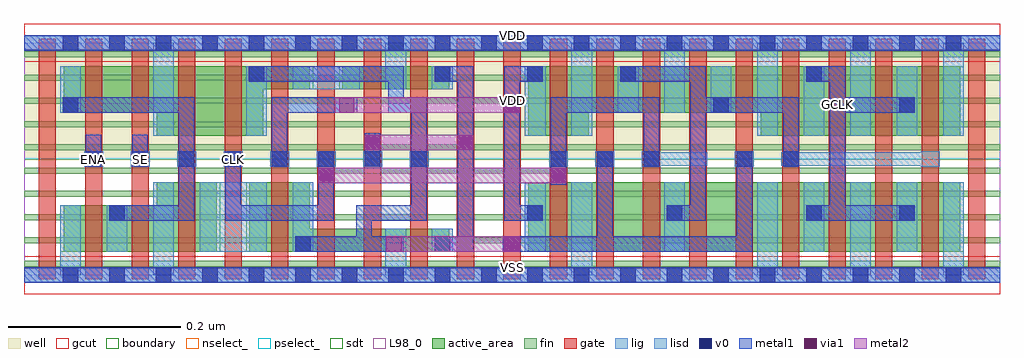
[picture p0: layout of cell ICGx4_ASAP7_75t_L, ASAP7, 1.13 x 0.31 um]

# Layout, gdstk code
import gdstk
lib = gdstk.Library(unit=1e-6, precision=2.5e-10)
def R(c, l, rs):  # rectangles x0, y0, x1, y1
    for r in rs: c.add(gdstk.rectangle(r[:2], r[2:], *l))
def A(c, l, x, y, w, h, nx, ny, dx, dy):  # array of equal rectangles
    R(c, l, [(x+i*dx, y+j*dy, x+i*dx+w, y+j*dy+h) for i in range(nx) for j in range(ny)])
def P(c, l, *ps):  # polygons
    for p in ps: c.add(gdstk.Polygon(p, *l))
well = (1, 0)
fin = (2, 0)
gate = (7, 0)
gcut = (10, 0)
active_area = (11, 0)
nselect_ = (12, 0)
pselect_ = (13, 0)
lig = (16, 0)
lisd = (17, 0)
v0 = (18, 0)
metal1 = (19, 0)
metal2 = (20, 0)
via1 = (21, 0)
sdt = (88, 0)
L98_0 = (98, 0)
boundary = (100, 0)

icgx4_asap7_75t_l = lib.new_cell('ICGx4_ASAP7_75t_L')
R(icgx4_asap7_75t_l, well, [(0,0.135,1.134,0.27)])
A(icgx4_asap7_75t_l, fin, 0, 0.01, 1.134, 0.007, 1, 10, 0, 0.027)
A(icgx4_asap7_75t_l, gate, 0.017, -0.005, 0.02, 0.28, 21, 1, 0.054, 0)
R(icgx4_asap7_75t_l, gcut, [(0,-0.022,1.134,0.022), (0,0.248,1.134,0.292)])
R(icgx4_asap7_75t_l, active_area, [(0.586,0.027,1.088,0.108), (0.37,0.216,0.494,0.243)])
P(icgx4_asap7_75t_l, active_area, [(0.046,0.027),(0.046,0.081),(0.154,0.081),(0.154,0.108),(0.224,0.108),(0.224,0.027)],
  [(0.262,0.027),(0.262,0.108),(0.332,0.108),(0.332,0.054),(0.494,0.054),(0.494,0.027)],
  [(0.154,0.162),(0.154,0.189),(0.046,0.189),(0.046,0.243),(0.332,0.243),(0.332,0.216),(0.278,0.216),(0.278,0.162)],
  [(0.586,0.162),(0.586,0.243),(1.088,0.243),(1.088,0.162),(0.856,0.162),(0.856,0.189),(0.656,0.189),(0.656,0.162)])
R(icgx4_asap7_75t_l, nselect_, [(0,0,1.134,0.135)])
R(icgx4_asap7_75t_l, pselect_, [(0,0.135,1.134,0.27)])
A(icgx4_asap7_75t_l, lig, 0.07, 0.126, 0.022, 0.018, 8, 1, 0.054, 0)
A(icgx4_asap7_75t_l, lig, 0.61, 0.126, 0.022, 0.018, 3, 1, 0.054, 0)
R(icgx4_asap7_75t_l, lig, [(0,-0.008,1.134,0.008), (0.826,0.126,0.848,0.144), (1.042,0.126,1.064,0.144), (0.718,0.127,0.794,0.143), (0.88,0.127,1.064,0.143), (0,0.262,1.134,0.278)])
A(icgx4_asap7_75t_l, lisd, 0.582, 0.027, 0.024, 0.081, 3, 1, 0.162, 0)
A(icgx4_asap7_75t_l, lisd, 0.258, 0.162, 0.024, 0.081, 3, 1, 0.324, 0)
R(icgx4_asap7_75t_l, lisd, [(0.042,0,0.066,0.081), (0.042,0,0.066,0.081), (0.15,0,0.174,0.108), (0.15,0,0.174,0.108), (0.42,0,0.444,0.054), (0.636,0,0.66,0.108), (0.636,0,0.66,0.108), (0.852,0,0.876,0.108), (0.852,0,0.876,0.108), (0.96,0,0.984,0.108), (0.96,0,0.984,0.108), (1.068,0,1.092,0.108), (1.068,0,1.092,0.108), (0.096,0.027,0.12,0.081), (0.204,0.027,0.282,0.108), (0.312,0.027,0.336,0.108), (0.474,0.027,0.498,0.054), (1.014,0.027,1.038,0.108), (0.15,0.162,0.174,0.27), (0.15,0.162,0.174,0.27), (0.636,0.162,0.66,0.27), (0.636,0.162,0.66,0.27), (0.852,0.162,0.876,0.27), (0.852,0.162,0.876,0.27), (0.96,0.162,0.984,0.27), (0.96,0.162,0.984,0.27), (1.014,0.162,1.038,0.243), (1.068,0.162,1.092,0.27), (1.068,0.162,1.092,0.27), (0.042,0.189,0.066,0.243), (0.69,0.189,0.714,0.243), (0.744,0.189,0.768,0.27), (0.744,0.189,0.768,0.27), (0.798,0.189,0.822,0.243), (0.312,0.216,0.39,0.243), (0.42,0.216,0.444,0.27), (0.474,0.216,0.498,0.243)])
A(icgx4_asap7_75t_l, v0, 0.045, -0.009, 0.018, 0.018, 20, 2, 0.054, 0.27)
A(icgx4_asap7_75t_l, v0, 0.585, 0.063, 0.018, 0.018, 3, 1, 0.162, 0)
A(icgx4_asap7_75t_l, v0, 0.072, 0.126, 0.018, 0.018, 8, 1, 0.054, 0)
A(icgx4_asap7_75t_l, v0, 0.612, 0.126, 0.018, 0.018, 3, 1, 0.054, 0)
A(icgx4_asap7_75t_l, v0, 0.477, 0.225, 0.018, 0.018, 3, 1, 0.108, 0)
R(icgx4_asap7_75t_l, v0, [(0.315,0.027,0.333,0.045), (0.477,0.027,0.495,0.045), (0.099,0.063,0.117,0.081), (1.017,0.063,1.035,0.081), (0.828,0.126,0.846,0.144), (0.882,0.126,0.9,0.144), (0.045,0.189,0.063,0.207), (0.801,0.189,0.819,0.207), (1.017,0.189,1.035,0.207), (0.261,0.225,0.279,0.243), (0.909,0.225,0.927,0.243)])
A(icgx4_asap7_75t_l, metal1, 0.585, 0.063, 0.018, 0.018, 3, 1, 0.162, 0)
A(icgx4_asap7_75t_l, metal1, 0.072, 0.126, 0.018, 0.018, 8, 1, 0.054, 0)
A(icgx4_asap7_75t_l, metal1, 0.612, 0.126, 0.018, 0.018, 3, 1, 0.054, 0)
A(icgx4_asap7_75t_l, metal1, 0.477, 0.225, 0.018, 0.018, 3, 1, 0.108, 0)
R(icgx4_asap7_75t_l, metal1, [(0,-0.009,1.134,0.009), (0.315,0.027,0.333,0.045), (0.423,0.027,0.441,0.045), (0.477,0.027,0.495,0.045), (0.556,0.027,0.578,0.045), (0.099,0.063,0.117,0.081), (1.017,0.063,1.035,0.081), (0.612,0.105,0.63,0.125), (0.342,0.107,0.36,0.125), (0.072,0.126,0.09,0.163), (0.126,0.126,0.144,0.163), (0.396,0.126,0.414,0.163), (0.828,0.126,0.846,0.144), (0.882,0.126,0.9,0.144), (0.396,0.145,0.414,0.165), (0.504,0.145,0.522,0.163), (0.045,0.189,0.063,0.207), (0.369,0.189,0.387,0.207), (0.558,0.189,0.576,0.207), (0.801,0.189,0.819,0.207), (1.017,0.189,1.035,0.207), (0.261,0.225,0.279,0.243), (0.909,0.225,0.927,0.243), (0,0.261,1.134,0.279)])
P(icgx4_asap7_75t_l, metal1, [(0.315,0.027),(0.315,0.045),(0.386,0.045),(0.386,0.081),(0.45,0.081),(0.45,0.189),(0.423,0.189),(0.423,0.225),(0.261,0.225),(0.261,0.243),(0.441,0.243),(0.441,0.207),(0.468,0.207),(0.468,0.063),(0.404,0.063),(0.404,0.045),(0.441,0.045),(0.441,0.027)],
  [(0.099,0.063),(0.099,0.081),(0.18,0.081),(0.18,0.189),(0.045,0.189),(0.045,0.207),(0.198,0.207),(0.198,0.063)],
  [(0.612,0.107),(0.612,0.207),(0.738,0.207),(0.738,0.126),(0.72,0.126),(0.72,0.189),(0.63,0.189),(0.63,0.107)],
  [(0.234,0.063),(0.234,0.144),(0.252,0.144),(0.252,0.081),(0.342,0.081),(0.342,0.144),(0.36,0.144),(0.36,0.063)],
  [(0.558,0.027),(0.558,0.045),(0.666,0.045),(0.666,0.144),(0.684,0.144),(0.684,0.045),(0.828,0.045),(0.828,0.144),(0.846,0.144),(0.846,0.027)],
  [(0.558,0.063),(0.558,0.243),(0.603,0.243),(0.603,0.225),(0.576,0.225),(0.576,0.081),(0.603,0.081),(0.603,0.063)],
  [(0.288,0.126),(0.288,0.207),(0.387,0.207),(0.387,0.189),(0.306,0.189),(0.306,0.126)],
  [(0.477,0.027),(0.477,0.045),(0.504,0.045),(0.504,0.225),(0.477,0.225),(0.477,0.243),(0.522,0.243),(0.522,0.027)],
  [(0.747,0.063),(0.747,0.081),(0.774,0.081),(0.774,0.225),(0.693,0.225),(0.693,0.243),(0.792,0.243),(0.792,0.207),(0.9,0.207),(0.9,0.126),(0.882,0.126),(0.882,0.189),(0.792,0.189),(0.792,0.063)],
  [(0.909,0.063),(0.909,0.081),(0.936,0.081),(0.936,0.225),(0.909,0.225),(0.909,0.243),(0.954,0.243),(0.954,0.207),(1.035,0.207),(1.035,0.189),(0.954,0.189),(0.954,0.081),(1.035,0.081),(1.035,0.063)])
R(icgx4_asap7_75t_l, metal2, [(0.421,0.027,0.576,0.045), (0.342,0.107,0.63,0.125), (0.396,0.145,0.522,0.163), (0.361,0.189,0.576,0.207)])
R(icgx4_asap7_75t_l, via1, [(0.421,0.027,0.439,0.045), (0.558,0.027,0.576,0.045), (0.342,0.107,0.36,0.125), (0.612,0.107,0.63,0.125), (0.396,0.145,0.414,0.163), (0.504,0.145,0.522,0.163), (0.366,0.189,0.384,0.207), (0.558,0.189,0.576,0.207)])
A(icgx4_asap7_75t_l, sdt, 0.15, 0.027, 0.024, 0.081, 4, 1, 0.054, 0)
A(icgx4_asap7_75t_l, sdt, 0.636, 0.027, 0.024, 0.081, 3, 1, 0.108, 0)
A(icgx4_asap7_75t_l, sdt, 0.852, 0.027, 0.024, 0.081, 3, 2, 0.054, 0.135)
A(icgx4_asap7_75t_l, sdt, 0.96, 0.027, 0.024, 0.081, 3, 2, 0.054, 0.135)
A(icgx4_asap7_75t_l, sdt, 0.312, 0.216, 0.024, 0.027, 4, 1, 0.054, 0)
R(icgx4_asap7_75t_l, sdt, [(0.042,0.027,0.066,0.081), (0.042,0.027,0.066,0.081), (0.096,0.027,0.12,0.081), (0.15,0.027,0.174,0.108), (0.42,0.027,0.444,0.054), (0.474,0.027,0.498,0.054), (0.582,0.027,0.606,0.108), (0.636,0.027,0.66,0.108), (1.068,0.027,1.092,0.108), (0.15,0.162,0.174,0.243), (0.15,0.162,0.174,0.243), (0.258,0.162,0.282,0.243), (0.582,0.162,0.606,0.243), (0.636,0.162,0.66,0.243), (0.636,0.162,0.66,0.243), (0.852,0.162,0.876,0.243), (1.068,0.162,1.092,0.243), (0.042,0.189,0.066,0.243), (0.69,0.189,0.714,0.243), (0.744,0.189,0.768,0.243), (0.744,0.189,0.768,0.243), (0.798,0.189,0.822,0.243)])
R(icgx4_asap7_75t_l, L98_0, [(0,0,1.134,0.27)])
R(icgx4_asap7_75t_l, boundary, [(0,0,1.134,0.27)])
icgx4_asap7_75t_l.add(gdstk.Label('VDD', (0.567,0.2025), layer=1, texttype=251))
icgx4_asap7_75t_l.add(gdstk.Label('VSS', (0.567,-0.0675), layer=3, texttype=251))
icgx4_asap7_75t_l.add(gdstk.Label('VSS', (0.567,0.009), layer=19, texttype=251))
icgx4_asap7_75t_l.add(gdstk.Label('VDD', (0.567,0.279), layer=19, texttype=251))
icgx4_asap7_75t_l.add(gdstk.Label('ENA', (0.081,0.135), layer=19, texttype=251))
icgx4_asap7_75t_l.add(gdstk.Label('SE', (0.135,0.135), layer=19, texttype=251))
icgx4_asap7_75t_l.add(gdstk.Label('CLK', (0.243,0.135), layer=19, texttype=251))
icgx4_asap7_75t_l.add(gdstk.Label('GCLK', (0.945,0.198), layer=19, texttype=251))

lib.write_gds('ICGx4_ASAP7_75t_L.gds')
